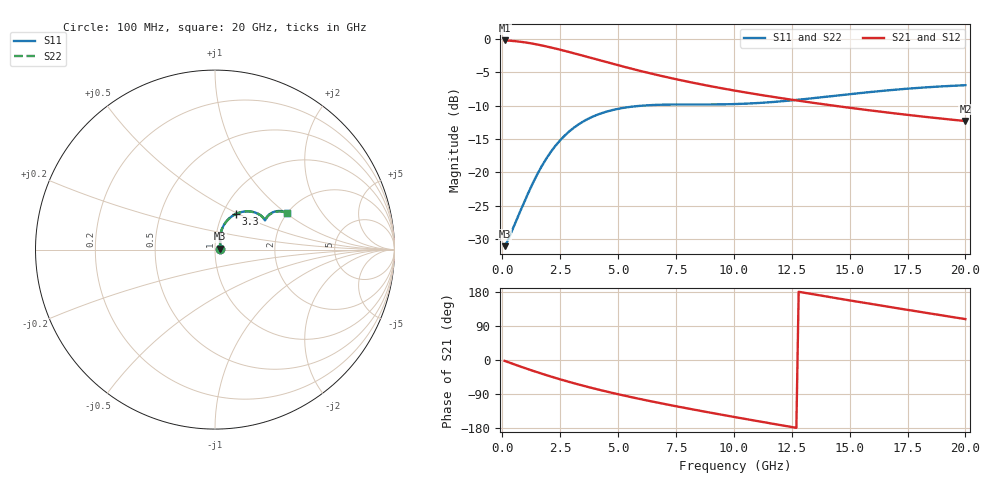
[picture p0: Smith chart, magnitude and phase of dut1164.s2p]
! Touchstone file exported from HFSS 2024.1.0
!  File:  C:/UserFiles/LocalFiles/RDL_TSV_Batchsim/temp_RDL_TSV_1164_1780121667.aedt
!  Generated:  02:31:22 PM May 30, 2026
!  Design:  RDL_TSV
!  Project:  temp_RDL_TSV_1164_1780121667
!  Setup:  Setup1
!  Solution:  Sweep
! Variables:
!  dtsv = 9.21um
!  hbump = 3um
!  htsv = 98.93um
!  ldown = 241.33um
!  lrdl = 659.04um
!  p = 40
!  p1 = 55.41um
!  rhole = 10um
!  subl = 3360.15um
!  t = 450um
!  tdown = 2.46um
!  trdl = 2.82um
!  viad = 10um
!  wdown = 18.96um
!  wrdl = 15.13um
!  xbump = 18um
# GHz S MA R 50.000000
! Terminal data exported
! Port[1] = TM1_1_T1
! Port[2] = TM1_4_T1
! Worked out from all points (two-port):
!   200 points, 100 MHz to 20 GHz, reference 50 ohm
!   highest |S21| = -0.25 dB at 100 MHz (marker M1); lowest = -12.3 dB at 20 GHz (marker M2)
!   |S21| within 3 dB of the highest: start of sweep to 4.243 GHz
!   lowest |S11| = -31.0 dB at 100 MHz (marker M3), VSWR 1.06, Z = 52.8 + j0.609 ohm
!   |S11| at or under -10 dB: start of sweep to 6.071 GHz
!   |S22| runs from -31.0 to -7.0 dB; largest |S21 - S12| = 9e-15
!   S11 on the Smith chart (normalised r, x): 100 MHz: 1.06, +0.01; 3.3 GHz: 1.15, +0.48; 20 GHz: 1.98, +1.02
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0.1  0.02803 11.9  0.9722 -2.3  0.9722 -2.3  0.02803 11.9
! Gamma 0 0 0 0
! Port Impedance 50 0 50 0
0.4  0.03599 37.9  0.9658 -9.0  0.9658 -9.0  0.03599 37.9
0.8  0.05233 57.1  0.9498 -17.6  0.9498 -17.6  0.05232 57.2
1.3  0.08173 68.8  0.9209 -28.1  0.9209 -28.1  0.08175 68.8
1.7  0.1111 71.3  0.8926 -36.0  0.8926 -36.0  0.1112 71.3
2  0.1348 70.8  0.8695 -41.8  0.8695 -41.8  0.1349 70.8
2.4  0.1664 68.3  0.8371 -49.2  0.8371 -49.2  0.1665 68.3
2.8  0.1962 64.7  0.8039 -56.3  0.8039 -56.3  0.1963 64.8
3.3  0.2292 59.8  0.7625 -64.8  0.7625 -64.8  0.2294 59.8
3.5  0.2408 57.7  0.7462 -68.0  0.7462 -68.0  0.241 57.7
4.3  0.2779 50.1  0.684 -80.3  0.684 -80.3  0.2782 50.1
5.1  0.3014 43.6  0.6279 -91.7  0.6279 -91.7  0.3018 43.6
5.9  0.3145 38.5  0.5786 -102.3  0.5786 -102.3  0.3149 38.5
6.8  0.3209 34.4  0.5308 -113.6  0.5308 -113.6  0.3214 34.3
8.4  0.3223 30.7  0.4627 -132.4  0.4627 -132.4  0.323 30.6
10.1  0.325 30.5  0.4078 -151.3  0.4078 -151.3  0.3256 30.4
11.7  0.3366 31.8  0.3673 -168.5  0.3673 -168.5  0.3371 31.6
13.4  0.359 32.9  0.3322 173.7  0.3322 173.7  0.3591 32.6
15.1  0.3866 32.7  0.3031 156.3  0.3031 156.3  0.3863 32.4
16.7  0.4121 31.4  0.2798 140.2  0.2798 140.2  0.4114 31.2
18.3  0.4333 29.5  0.2601 124.4  0.2601 124.4  0.4323 29.2
20  0.4495 27.2  0.2424 107.9  0.2424 107.9  0.4481 27.0
